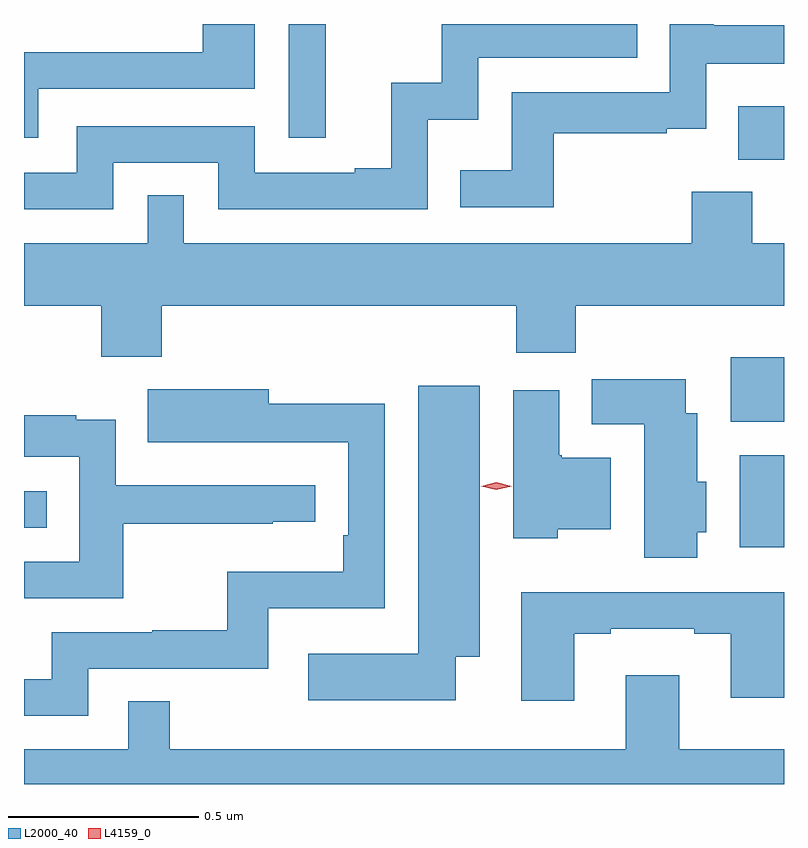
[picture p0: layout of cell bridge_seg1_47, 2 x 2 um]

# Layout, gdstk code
import gdstk
lib = gdstk.Library(unit=1e-6, precision=1e-09)
def R(c, l, rs):  # rectangles x0, y0, x1, y1
    for r in rs: c.add(gdstk.rectangle(r[:2], r[2:], *l))
def P(c, l, *ps):  # polygons
    for p in ps: c.add(gdstk.Polygon(p, *l))
L2000_40 = (2000, 40)
L4159_0 = (4159, 0)

bridge_seg1_47 = lib.new_cell('bridge_seg1_47')
R(bridge_seg1_47, L2000_40, [(1015.103,565.748,1015.219,565.99), (1013.219,565.8,1013.279,565.896), (1015.079,566.078,1015.219,566.248), (1015.099,566.768,1015.219,566.908), (1013.916,566.826,1014.013,567.125)])
P(bridge_seg1_47, L2000_40, [(1014.613,566.838),(1014.911,566.838),(1014.911,566.849),(1015.014,566.849),(1015.014,567.021),(1015.219,567.021),(1015.219,567.122),(1015.034,567.122),(1015.034,567.125),(1014.918,567.125),(1014.918,566.946),(1014.502,566.946),(1014.502,566.74),(1014.367,566.74),(1014.367,566.643),(1014.613,566.643)],
  [(1013.257,566.955),(1013.826,566.955),(1013.826,567.125),(1013.689,567.125),(1013.689,567.051),(1013.219,567.051),(1013.219,566.826),(1013.257,566.826)],
  [(1013.454,566.76),(1013.73,566.76),(1013.73,566.637),(1014.282,566.637),(1014.282,566.873),(1014.414,566.873),(1014.414,567.036),(1014.833,567.036),(1014.833,567.125),(1014.318,567.125),(1014.318,566.971),(1014.185,566.971),(1014.185,566.746),(1014.089,566.746),(1014.089,566.733),(1013.826,566.733),(1013.826,566.856),(1013.358,566.856),(1013.358,566.733),(1013.219,566.733),(1013.219,566.637),(1013.454,566.637)],
  [(1013.582,566.384),(1014.515,566.384),(1014.515,566.26),(1014.671,566.26),(1014.671,566.384),(1015.219,566.384),(1015.219,566.548),(1015.136,566.548),(1015.136,566.683),(1014.976,566.683),(1014.976,566.548),(1013.64,566.548),(1013.64,566.675),(1013.544,566.675),(1013.544,566.548),(1013.219,566.548),(1013.219,566.384),(1013.422,566.384),(1013.422,566.249),(1013.582,566.249)],
  [(1014.991,565.788),(1015.015,565.788),(1015.015,565.92),(1014.991,565.92),(1014.991,566.101),(1014.961,566.101),(1014.961,566.19),(1014.713,566.19),(1014.713,566.072),(1014.851,566.072),(1014.851,565.721),(1014.991,565.721)],
  [(1014.355,565.46),(1014.418,565.46),(1014.418,566.173),(1014.257,566.173),(1014.257,565.468),(1013.967,565.468),(1013.967,565.346),(1014.355,565.346)],
  [(1013.388,565.428),(1013.862,565.428),(1013.862,565.587),(1014.168,565.587),(1014.168,566.126),(1013.863,566.126),(1013.863,566.164),(1013.545,566.164),(1013.545,566.024),(1013.759,566.024),(1013.759,566.025),(1014.072,566.025),(1014.072,565.78),(1014.059,565.78),(1014.059,565.684),(1013.754,565.684),(1013.754,565.529),(1013.557,565.529),(1013.557,565.524),(1013.292,565.524),(1013.292,565.401),(1013.219,565.401),(1013.219,565.305),(1013.388,565.305)],
  [(1014.624,565.796),(1014.763,565.796),(1014.763,565.984),(1014.634,565.984),(1014.634,565.99),(1014.628,565.99),(1014.628,566.161),(1014.506,566.161),(1014.506,565.772),(1014.624,565.772)],
  [(1013.48,565.81),(1013.873,565.81),(1013.873,565.815),(1013.986,565.815),(1013.986,565.911),(1013.46,565.911),(1013.46,566.083),(1013.357,566.083),(1013.357,566.095),(1013.219,566.095),(1013.219,565.986),(1013.364,565.986),(1013.364,565.71),(1013.219,565.71),(1013.219,565.614),(1013.48,565.614)],
  [(1014.667,565.521),(1014.763,565.521),(1014.763,565.533),(1014.983,565.533),(1014.983,565.521),(1015.079,565.521),(1015.079,565.352),(1015.219,565.352),(1015.219,565.629),(1014.759,565.629),(1014.759,565.63),(1014.527,565.63),(1014.527,565.344),(1014.667,565.344)],
  [(1015.219,565.216),(1014.943,565.216),(1014.943,565.411),(1014.803,565.411),(1014.803,565.216),(1013.602,565.216),(1013.602,565.343),(1013.493,565.343),(1013.493,565.216),(1013.219,565.216),(1013.219,565.125),(1015.219,565.125)])
P(bridge_seg1_47, L4159_0, [(1014.462,565.899),(1014.422,565.909),(1014.422,565.909),(1014.422,565.909),(1014.462,565.919),(1014.502,565.909),(1014.502,565.909),(1014.502,565.909)])

lib.write_gds('bridge_seg1_47.gds')
